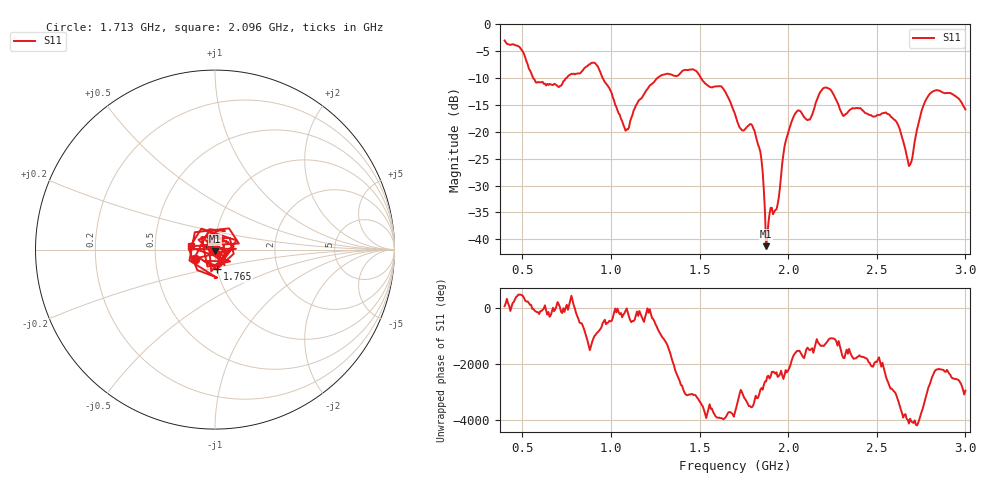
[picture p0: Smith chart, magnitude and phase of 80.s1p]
!Created with skrf (http://scikit-rf.org).
# Hz S RI R 50.0
!freq ReS11 ImS11
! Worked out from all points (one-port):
!   401 points, 400 MHz to 3 GHz, reference 50 ohm
!   lowest |S11| = -41.3 dB at 1.875 GHz (marker M1), VSWR 1.02, Z = 49.9 - j0.854 ohm
!   |S11| at or under -10 dB: 561.2 MHz to 748.4 MHz (187.2 MHz wide, 28.6 % of centre); 953.3 MHz to 1.262 GHz (308.7 MHz wide, 27.9 % of centre); 1.508 GHz to end of sweep
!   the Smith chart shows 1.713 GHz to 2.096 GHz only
!   S11 on the Smith chart (normalised r, x): 1.713 GHz: 0.79, -0.08; 1.765 GHz: 1.00, -0.22; 2.096 GHz: 0.77, +0.03
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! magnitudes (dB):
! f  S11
! 400 MHz  -3.0
! 491 MHz  -4.6
! 575.5 MHz  -10.8
! 725 MHz  -11.1
! 907 MHz  -7.2
! 1.05 GHz  -16.8
! 1.089 GHz  -19.5
! 1.226 GHz  -11.2
! 1.375 GHz  -9.6
! 1.622 GHz  -11.6
! 1.7 GHz  -16.7
! 1.713 GHz  -18.1
! 1.765 GHz  -19.2
! 1.798 GHz  -18.8
! 1.837 GHz  -22.9
! 1.875 GHz  -41.3
! 1.934 GHz  -34.4
! 1.98 GHz  -22.7
! 2.025 GHz  -17.6
! 2.096 GHz  -17.5
! 2.207 GHz  -11.8
! 2.35 GHz  -15.9
! 2.578 GHz  -17.1
! 2.675 GHz  -25.3
! 2.695 GHz  -25.6
! 2.753 GHz  -16.1
! 2.805 GHz  -12.8
! 3 GHz  -15.8
